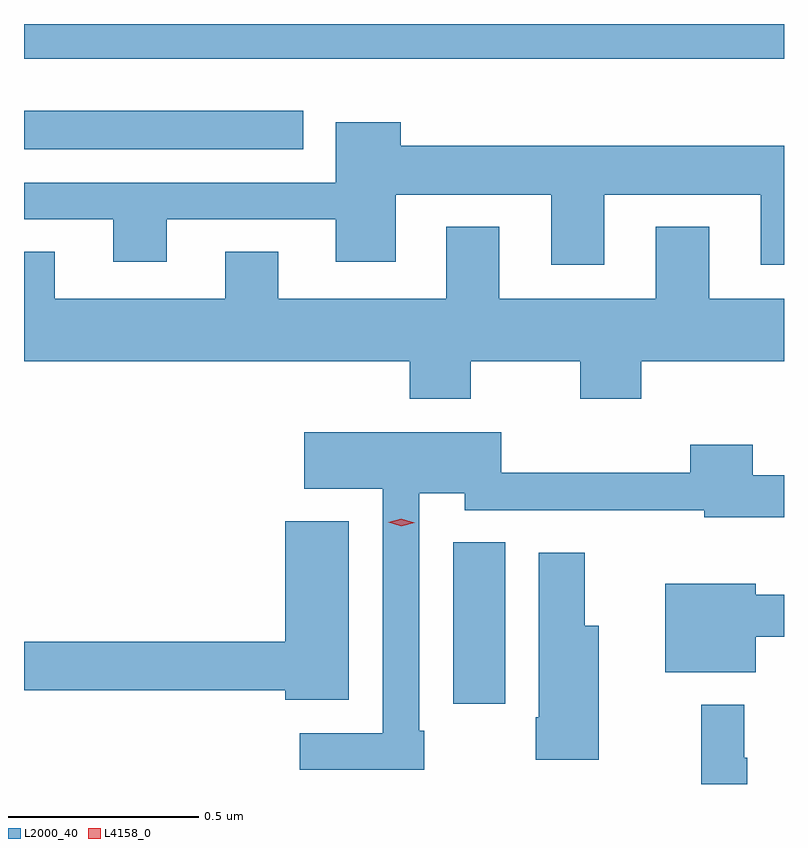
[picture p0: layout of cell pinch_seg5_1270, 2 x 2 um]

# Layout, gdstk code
import gdstk
lib = gdstk.Library(unit=1e-6, precision=1e-09)
def R(c, l, rs):  # rectangles x0, y0, x1, y1
    for r in rs: c.add(gdstk.rectangle(r[:2], r[2:], *l))
def P(c, l, *ps):  # polygons
    for p in ps: c.add(gdstk.Polygon(p, *l))
L2000_40 = (2000, 40)
L4158_0 = (4158, 0)

pinch_seg5_1270 = lib.new_cell('pinch_seg5_1270')
R(pinch_seg5_1270, L2000_40, [(451.295,898.482,451.432,898.907), (450.166,899.942,450.901,900.043), (450.166,900.179,452.166,900.271)])
P(pinch_seg5_1270, L2000_40, [(451.693,899.822),(452.105,899.822),(452.105,899.637),(452.166,899.637),(452.166,899.95),(451.157,899.95),(451.157,900.013),(450.986,900.013),(450.986,899.853),(450.166,899.853),(450.166,899.757),(450.401,899.757),(450.401,899.645),(450.541,899.645),(450.541,899.757),(450.986,899.757),(450.986,899.645),(451.144,899.645),(451.144,899.822),(451.553,899.822),(451.553,899.637),(451.693,899.637)],
  [(451.341,899.384),(451.63,899.384),(451.63,899.285),(451.79,899.285),(451.79,899.384),(452.166,899.384),(452.166,899.548),(451.969,899.548),(451.969,899.737),(451.829,899.737),(451.829,899.548),(451.417,899.548),(451.417,899.737),(451.277,899.737),(451.277,899.548),(450.835,899.548),(450.835,899.672),(450.695,899.672),(450.695,899.548),(450.247,899.548),(450.247,899.672),(450.166,899.672),(450.166,899.384),(451.181,899.384),(451.181,899.285),(451.341,899.285)],
  [(451.219,898.411),(451.206,898.411),(451.206,899.036),(451.326,899.036),(451.326,898.992),(451.738,898.992),(451.738,898.991),(451.956,898.991),(451.956,898.973),(452.166,898.973),(452.166,899.083),(452.084,899.083),(452.084,899.164),(451.919,899.164),(451.919,899.09),(451.422,899.09),(451.422,899.197),(450.903,899.197),(450.903,899.048),(451.11,899.048),(451.11,898.404),(450.891,898.404),(450.891,898.308),(451.219,898.308)],
  [(451.021,898.963),(450.854,898.963),(450.854,898.646),(450.166,898.646),(450.166,898.518),(450.854,898.518),(450.854,898.493),(451.021,898.493)],
  [(451.678,898.687),(451.642,898.687),(451.642,898.879),(451.52,898.879),(451.52,898.447),(451.513,898.447),(451.513,898.335),(451.678,898.335)],
  [(452.092,898.659),(452.166,898.659),(452.166,898.769),(452.092,898.769),(452.092,898.798),(451.853,898.798),(451.853,898.565),(452.092,898.565)],
  [(452.069,898.34),(452.062,898.34),(452.062,898.48),(451.948,898.48),(451.948,898.271),(452.069,898.271)])
P(pinch_seg5_1270, L4158_0, [(451.159,898.949),(451.124,898.96),(451.124,898.96),(451.124,898.96),(451.159,898.969),(451.194,898.958),(451.194,898.958),(451.194,898.958)])

lib.write_gds('pinch_seg5_1270.gds')
